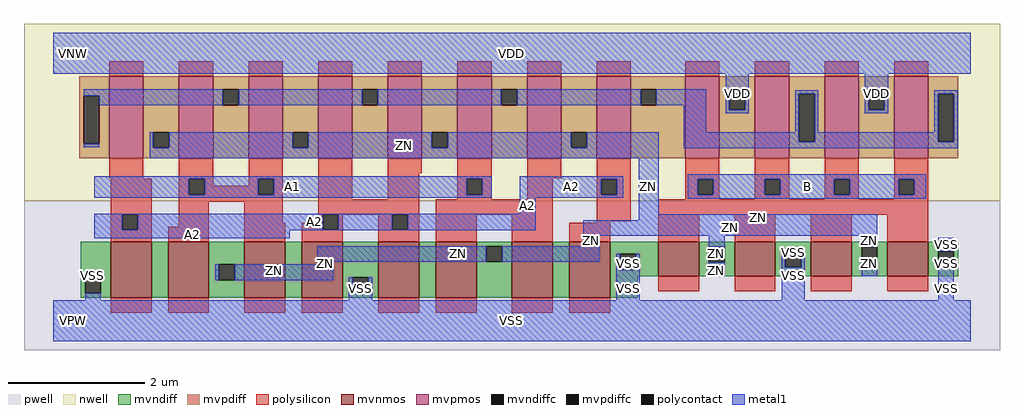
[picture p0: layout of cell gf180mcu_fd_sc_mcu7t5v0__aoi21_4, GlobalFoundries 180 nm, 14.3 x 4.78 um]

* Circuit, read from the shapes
.subckt gf180mcu_fd_sc_mcu7t5v0__aoi21_4 A1 A2 B ZN VDD VNW VPW VSS
XM1 n1 A2 VSS VPW nfet_06v0 w=0.82u l=0.6u
XM2 ZN A1 n1 VPW nfet_06v0 w=0.82u l=0.6u
XM3 n2 A1 ZN VPW nfet_06v0 w=0.82u l=0.6u
XM4 VSS A2 n2 VPW nfet_06v0 w=0.82u l=0.6u
XM5 n3 A2 VSS VPW nfet_06v0 w=0.82u l=0.6u
XM6 ZN A1 n3 VPW nfet_06v0 w=0.82u l=0.6u
XM7 n4 A1 ZN VPW nfet_06v0 w=0.82u l=0.6u
XM8 VSS A2 n4 VPW nfet_06v0 w=0.82u l=0.6u
XM9 ZN B VSS VPW nfet_06v0 w=0.51u l=0.6u m=4
XM10 ZN A2 n5 VNW pfet_06v0 w=1.2u l=0.5u m=4
XM11 n5 A1 ZN VNW pfet_06v0 w=1.2u l=0.5u m=4
XM12 VDD B n5 VNW pfet_06v0 w=1.2u l=0.5u m=4
.ends

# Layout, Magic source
magic
tech gf180mcuD
magscale 1 10
<< nwell >>
rect -86 352 2774 870
<< pwell >>
rect -86 -86 2774 352
<< mvnmos >>
rect 168 68 288 232
rect 336 68 456 232
rect 560 68 680 232
rect 728 68 848 232
rect 952 68 1072 232
rect 1120 68 1240 232
rect 1344 68 1464 232
rect 1512 68 1632 232
rect 1772 130 1892 232
rect 1996 130 2116 232
rect 2220 130 2340 232
rect 2444 130 2564 232
<< mvpmos >>
rect 164 476 264 716
rect 368 476 468 716
rect 572 476 672 716
rect 776 476 876 716
rect 980 476 1080 716
rect 1184 476 1284 716
rect 1388 476 1488 716
rect 1592 476 1692 716
rect 1852 476 1952 716
rect 2056 476 2156 716
rect 2260 476 2360 716
rect 2464 476 2564 716
<< mvndiff >>
rect 80 127 168 232
rect 80 81 93 127
rect 139 81 168 127
rect 80 68 168 81
rect 288 68 336 232
rect 456 165 560 232
rect 456 119 485 165
rect 531 119 560 165
rect 456 68 560 119
rect 680 68 728 232
rect 848 127 952 232
rect 848 81 877 127
rect 923 81 952 127
rect 848 68 952 81
rect 1072 68 1120 232
rect 1240 219 1344 232
rect 1240 173 1269 219
rect 1315 173 1344 219
rect 1240 68 1344 173
rect 1464 68 1512 232
rect 1632 196 1772 232
rect 1632 150 1661 196
rect 1707 150 1772 196
rect 1632 130 1772 150
rect 1892 217 1996 232
rect 1892 171 1921 217
rect 1967 171 1996 217
rect 1892 130 1996 171
rect 2116 203 2220 232
rect 2116 157 2145 203
rect 2191 157 2220 203
rect 2116 130 2220 157
rect 2340 217 2444 232
rect 2340 171 2369 217
rect 2415 171 2444 217
rect 2340 130 2444 171
rect 2564 203 2652 232
rect 2564 157 2593 203
rect 2639 157 2652 203
rect 2564 130 2652 157
rect 1632 68 1712 130
<< mvpdiff >>
rect 76 659 164 716
rect 76 519 89 659
rect 135 519 164 659
rect 76 476 164 519
rect 264 553 368 716
rect 264 507 293 553
rect 339 507 368 553
rect 264 476 368 507
rect 468 678 572 716
rect 468 632 497 678
rect 543 632 572 678
rect 468 476 572 632
rect 672 553 776 716
rect 672 507 701 553
rect 747 507 776 553
rect 672 476 776 507
rect 876 678 980 716
rect 876 632 905 678
rect 951 632 980 678
rect 876 476 980 632
rect 1080 553 1184 716
rect 1080 507 1109 553
rect 1155 507 1184 553
rect 1080 476 1184 507
rect 1284 678 1388 716
rect 1284 632 1313 678
rect 1359 632 1388 678
rect 1284 476 1388 632
rect 1488 553 1592 716
rect 1488 507 1517 553
rect 1563 507 1592 553
rect 1488 476 1592 507
rect 1692 678 1852 716
rect 1692 632 1721 678
rect 1767 632 1852 678
rect 1692 476 1852 632
rect 1952 665 2056 716
rect 1952 619 1981 665
rect 2027 619 2056 665
rect 1952 476 2056 619
rect 2156 665 2260 716
rect 2156 525 2185 665
rect 2231 525 2260 665
rect 2156 476 2260 525
rect 2360 665 2464 716
rect 2360 619 2389 665
rect 2435 619 2464 665
rect 2360 476 2464 619
rect 2564 665 2652 716
rect 2564 525 2593 665
rect 2639 525 2652 665
rect 2564 476 2652 525
<< mvndiffc >>
rect 93 81 139 127
rect 485 119 531 165
rect 877 81 923 127
rect 1269 173 1315 219
rect 1661 150 1707 196
rect 1921 171 1967 217
rect 2145 157 2191 203
rect 2369 171 2415 217
rect 2593 157 2639 203
<< mvpdiffc >>
rect 89 519 135 659
rect 293 507 339 553
rect 497 632 543 678
rect 701 507 747 553
rect 905 632 951 678
rect 1109 507 1155 553
rect 1313 632 1359 678
rect 1517 507 1563 553
rect 1721 632 1767 678
rect 1981 619 2027 665
rect 2185 525 2231 665
rect 2389 619 2435 665
rect 2593 525 2639 665
<< polysilicon >>
rect 164 716 264 760
rect 368 716 468 760
rect 572 716 672 760
rect 776 716 876 760
rect 980 716 1080 760
rect 1184 716 1284 760
rect 1388 716 1488 760
rect 1592 716 1692 760
rect 1852 716 1952 760
rect 2056 716 2156 760
rect 2260 716 2360 760
rect 2464 716 2564 760
rect 164 417 264 476
rect 168 416 264 417
rect 368 416 468 476
rect 168 312 288 416
rect 168 266 202 312
rect 248 266 288 312
rect 368 370 397 416
rect 443 395 468 416
rect 572 416 672 476
rect 572 395 600 416
rect 443 370 600 395
rect 646 370 672 416
rect 368 349 672 370
rect 368 276 456 349
rect 168 232 288 266
rect 336 232 456 276
rect 560 287 672 349
rect 776 356 876 476
rect 980 432 1080 476
rect 980 356 1072 432
rect 1184 416 1284 476
rect 1184 370 1211 416
rect 1257 370 1284 416
rect 1184 356 1284 370
rect 1388 417 1488 476
rect 1388 356 1464 417
rect 776 312 1072 356
rect 776 287 789 312
rect 560 232 680 287
rect 728 266 789 287
rect 835 310 993 312
rect 835 266 848 310
rect 728 232 848 266
rect 952 266 993 310
rect 1039 266 1072 312
rect 952 232 1072 266
rect 1120 310 1464 356
rect 1120 232 1240 310
rect 1344 232 1464 310
rect 1592 415 1692 476
rect 1592 369 1605 415
rect 1651 369 1692 415
rect 1592 292 1692 369
rect 1852 415 1952 476
rect 1852 369 1888 415
rect 1934 369 1952 415
rect 1852 356 1952 369
rect 2056 415 2156 476
rect 2056 369 2084 415
rect 2130 369 2156 415
rect 2056 356 2156 369
rect 2260 415 2360 476
rect 2260 369 2288 415
rect 2334 369 2360 415
rect 2260 356 2360 369
rect 2464 415 2564 476
rect 2464 369 2477 415
rect 2523 369 2564 415
rect 2464 356 2564 369
rect 1772 310 2564 356
rect 1592 287 1632 292
rect 1512 232 1632 287
rect 1772 232 1892 310
rect 1996 232 2116 310
rect 2220 232 2340 310
rect 2444 232 2564 310
rect 1772 86 1892 130
rect 1996 86 2116 130
rect 2220 86 2340 130
rect 2444 86 2564 130
rect 168 24 288 68
rect 336 24 456 68
rect 560 24 680 68
rect 728 24 848 68
rect 952 24 1072 68
rect 1120 24 1240 68
rect 1344 24 1464 68
rect 1512 24 1632 68
<< polycontact >>
rect 202 266 248 312
rect 397 370 443 416
rect 600 370 646 416
rect 1211 370 1257 416
rect 789 266 835 312
rect 993 266 1039 312
rect 1605 369 1651 415
rect 1888 369 1934 415
rect 2084 369 2130 415
rect 2288 369 2334 415
rect 2477 369 2523 415
<< metal1 >>
rect 0 724 2688 844
rect 89 659 497 678
rect 135 632 497 659
rect 543 632 905 678
rect 951 632 1313 678
rect 1359 632 1721 678
rect 1767 632 1913 678
rect 89 508 135 519
rect 282 507 293 553
rect 339 507 701 553
rect 747 507 1109 553
rect 1155 507 1517 553
rect 1563 507 1774 553
rect 282 476 1774 507
rect 1847 552 1913 632
rect 1970 665 2038 724
rect 1970 619 1981 665
rect 2027 619 2038 665
rect 1970 608 2038 619
rect 2174 665 2242 676
rect 2174 552 2185 665
rect 1847 525 2185 552
rect 2231 552 2242 665
rect 2378 665 2446 724
rect 2378 619 2389 665
rect 2435 619 2446 665
rect 2378 608 2446 619
rect 2582 665 2650 676
rect 2582 552 2593 665
rect 2231 525 2593 552
rect 2639 525 2650 665
rect 1847 506 2650 525
rect 120 416 1284 424
rect 120 370 397 416
rect 443 370 600 416
rect 646 370 1211 416
rect 1257 370 1284 416
rect 120 360 1284 370
rect 1367 415 1670 424
rect 1367 369 1605 415
rect 1651 369 1670 415
rect 1367 361 1670 369
rect 1367 314 1413 361
rect 120 312 1413 314
rect 120 266 202 312
rect 248 266 789 312
rect 835 266 993 312
rect 1039 266 1413 312
rect 1716 312 1774 476
rect 1859 415 2558 430
rect 1859 369 1888 415
rect 1934 369 2084 415
rect 2130 369 2288 415
rect 2334 369 2477 415
rect 2523 369 2558 415
rect 1859 358 2558 369
rect 1716 295 2415 312
rect 120 265 1413 266
rect 120 242 693 265
rect 1553 249 2415 295
rect 1553 219 1599 249
rect 774 173 1269 219
rect 1315 173 1599 219
rect 1921 217 1967 249
rect 774 165 820 173
rect 93 127 139 138
rect 474 119 485 165
rect 531 119 820 165
rect 1650 150 1661 196
rect 1707 150 1718 196
rect 93 60 139 81
rect 866 81 877 127
rect 923 81 934 127
rect 866 60 934 81
rect 1650 60 1718 150
rect 2369 217 2415 249
rect 1921 131 1967 171
rect 2134 157 2145 203
rect 2191 157 2202 203
rect 2134 60 2202 157
rect 2369 131 2415 171
rect 2593 203 2639 243
rect 2593 60 2639 157
rect 0 -60 2688 60
<< labels >>
flabel metal1 s 1367 361 1670 424 0 FreeSans 600 0 0 0 A2
port 2 nsew default input
flabel metal1 s 1859 358 2558 430 0 FreeSans 600 0 0 0 B
port 3 nsew default input
flabel metal1 s 0 724 2688 844 0 FreeSans 600 0 0 0 VDD
port 5 nsew power bidirectional abutment
flabel metal1 s 2593 203 2639 243 0 FreeSans 600 0 0 0 VSS
port 8 nsew ground bidirectional abutment
flabel metal1 s 282 476 1774 553 0 FreeSans 600 0 0 0 ZN
port 4 nsew default output
flabel metal1 s 120 360 1284 424 0 FreeSans 600 0 0 0 A1
port 1 nsew default input
flabel nwell s 10 734 110 834 0 FreeSans 400 0 0 0 VNW
port 6 nsew power bidirectional
flabel pwell s 10 -50 110 50 0 FreeSans 400 0 0 0 VPW
port 7 nsew ground bidirectional
rlabel metal1 s 1367 314 1413 361 1 A2
port 2 nsew default input
rlabel metal1 s 120 265 1413 314 1 A2
port 2 nsew default input
rlabel metal1 s 120 242 693 265 1 A2
port 2 nsew default input
rlabel metal1 s 1716 312 1774 476 1 ZN
port 4 nsew default output
rlabel metal1 s 1716 295 2415 312 1 ZN
port 4 nsew default output
rlabel metal1 s 1553 249 2415 295 1 ZN
port 4 nsew default output
rlabel metal1 s 2369 219 2415 249 1 ZN
port 4 nsew default output
rlabel metal1 s 1921 219 1967 249 1 ZN
port 4 nsew default output
rlabel metal1 s 1553 219 1599 249 1 ZN
port 4 nsew default output
rlabel metal1 s 2369 173 2415 219 1 ZN
port 4 nsew default output
rlabel metal1 s 1921 173 1967 219 1 ZN
port 4 nsew default output
rlabel metal1 s 774 173 1599 219 1 ZN
port 4 nsew default output
rlabel metal1 s 2369 165 2415 173 1 ZN
port 4 nsew default output
rlabel metal1 s 1921 165 1967 173 1 ZN
port 4 nsew default output
rlabel metal1 s 774 165 820 173 1 ZN
port 4 nsew default output
rlabel metal1 s 2369 131 2415 165 1 ZN
port 4 nsew default output
rlabel metal1 s 1921 131 1967 165 1 ZN
port 4 nsew default output
rlabel metal1 s 474 131 820 165 1 ZN
port 4 nsew default output
rlabel metal1 s 474 119 820 131 1 ZN
port 4 nsew default output
rlabel metal1 s 2378 608 2446 724 1 VDD
port 5 nsew power bidirectional abutment
rlabel metal1 s 1970 608 2038 724 1 VDD
port 5 nsew power bidirectional abutment
rlabel metal1 s 2593 196 2639 203 1 VSS
port 8 nsew ground bidirectional abutment
rlabel metal1 s 2134 196 2202 203 1 VSS
port 8 nsew ground bidirectional abutment
rlabel metal1 s 2593 138 2639 196 1 VSS
port 8 nsew ground bidirectional abutment
rlabel metal1 s 2134 138 2202 196 1 VSS
port 8 nsew ground bidirectional abutment
rlabel metal1 s 1650 138 1718 196 1 VSS
port 8 nsew ground bidirectional abutment
rlabel metal1 s 2593 127 2639 138 1 VSS
port 8 nsew ground bidirectional abutment
rlabel metal1 s 2134 127 2202 138 1 VSS
port 8 nsew ground bidirectional abutment
rlabel metal1 s 1650 127 1718 138 1 VSS
port 8 nsew ground bidirectional abutment
rlabel metal1 s 93 127 139 138 1 VSS
port 8 nsew ground bidirectional abutment
rlabel metal1 s 2593 60 2639 127 1 VSS
port 8 nsew ground bidirectional abutment
rlabel metal1 s 2134 60 2202 127 1 VSS
port 8 nsew ground bidirectional abutment
rlabel metal1 s 1650 60 1718 127 1 VSS
port 8 nsew ground bidirectional abutment
rlabel metal1 s 866 60 934 127 1 VSS
port 8 nsew ground bidirectional abutment
rlabel metal1 s 93 60 139 127 1 VSS
port 8 nsew ground bidirectional abutment
rlabel metal1 s 0 -60 2688 60 1 VSS
port 8 nsew ground bidirectional abutment
<< properties >>
string FIXED_BBOX 0 0 2688 784
string GDS_END 1261170
string GDS_FILE $PDKPATH/libs.ref/gf180mcu_fd_sc_mcu7t5v0/gds/gf180mcu_fd_sc_mcu7t5v0.gds
string GDS_START 1255522
string LEFclass core
string LEFsite GF018hv5v_mcu_sc7
string LEFsymmetry X Y
<< end >>
